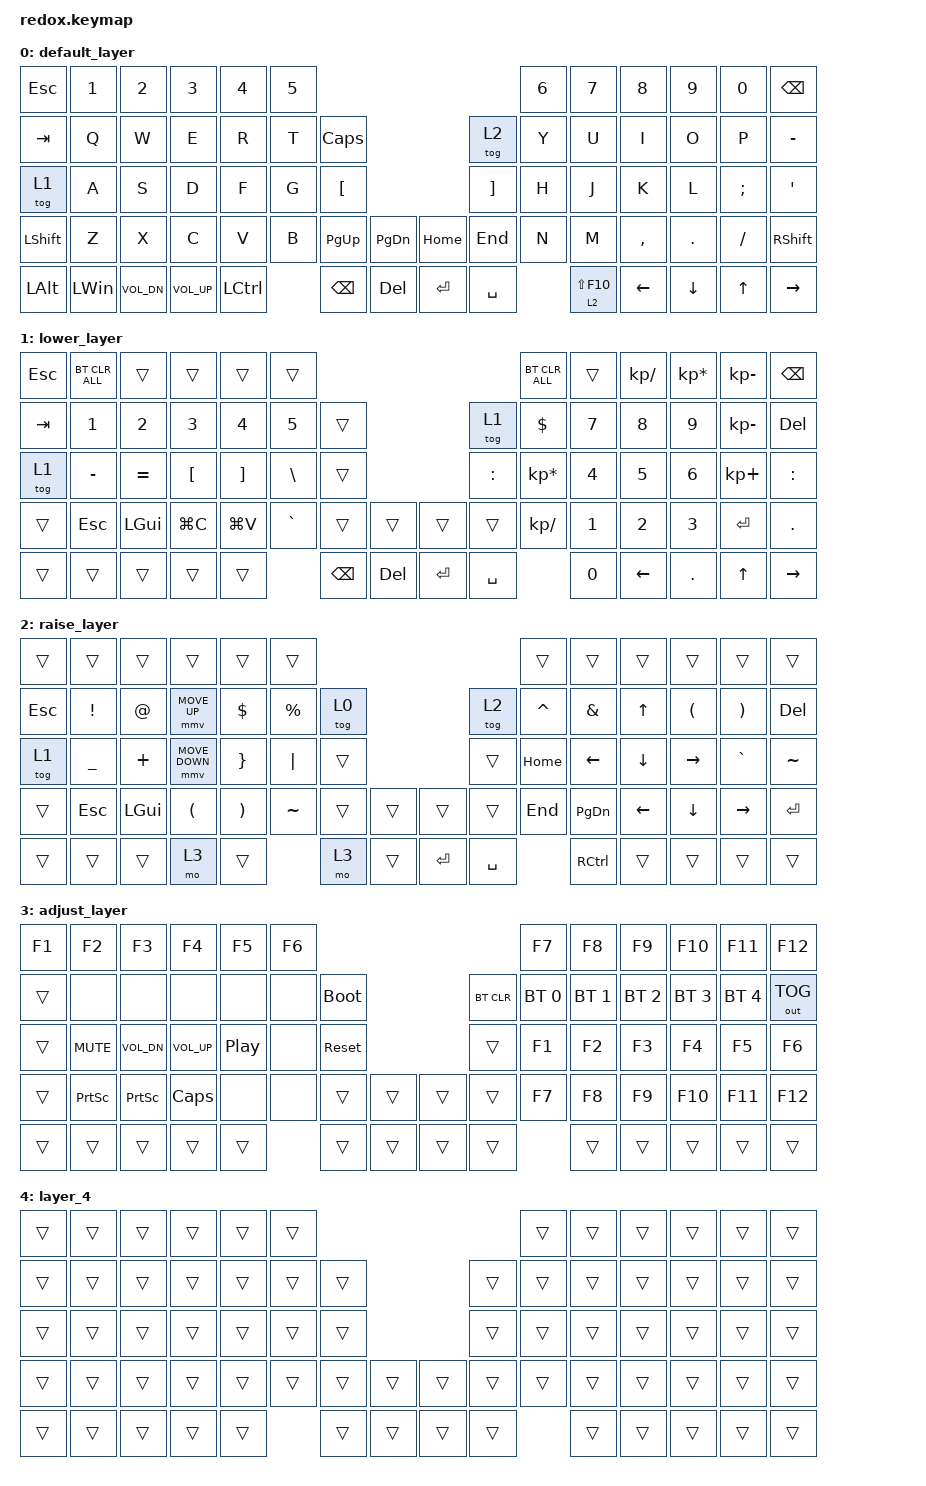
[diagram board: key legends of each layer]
/*
 * Copyright (c) 2021 The ZMK Contributors
 *
 * SPDX-License-Identifier: MIT
 */

#include <behaviors.dtsi>
#include <dt-bindings/zmk/bt.h>
#include <dt-bindings/zmk/keys.h>
#include <dt-bindings/zmk/outputs.h>
#include <dt-bindings/zmk/pointing.h>

/ {
    keymap {
        compatible = "zmk,keymap";

        default_layer {
            // --------------------------------------------------------------------------------------------------------------------------------
            // | ESC   |  1  |  2  |   3   |  4  |  5  |                   ---                |  6    |  7    |  8    |  9   | 0  |    BSPC   |
            // | TAB   |  Q  |  W  |   E   |  R  |  T  |   (   |           ---        |  )    |  Y    |  U    |  I    |  O   | P  |     -     |
            // | CTRL  |  A  |  S  |   D   |  F  |  G  |   [   |           ---        |  ]    |  H    |  J    |  K    |  L   | ;  |     '     |
            // | SHIFT |  Z  |  X  |   C   |  V  |  B  | PG_UP | PG_DOWN | --- | HOME | END   |  N    |  M    |  ,    |  .   | /  | SHFT(RET) |
            // | CRTL  | ALT | GUI | LOWER |    GUI    | LOWER | SPACE   | --- | DEL  | SPACE |     RAISE     | LEFT  | DOWN | UP |   RIGHT   |

            bindings = <
&kp ESC    &kp N1        &kp N2        &kp N3           &kp N4     &kp N5                                                    &kp N6  &kp N7         &kp N8     &kp N9    &kp N0    &kp BSPC
&kp TAB    &kp Q         &kp W         &kp E            &kp R      &kp T   &kp CAPS                               &tog 2     &kp Y   &kp U          &kp I      &kp O     &kp P     &kp MINUS
&tog 1     &kp A         &kp S         &kp D            &kp F      &kp G   &kp LBKT                               &kp RBKT   &kp H   &kp J          &kp K      &kp L     &kp SEMI  &kp SQT
&kp LSHFT  &kp Z         &kp X         &kp C            &kp V      &kp B   &kp PG_UP      &kp PG_DN    &kp HOME   &kp END    &kp N   &kp M          &kp COMMA  &kp DOT   &kp FSLH  &kp RSHFT
&kp LALT   &kp LEFT_WIN  &kp C_VOL_DN  &kp C_VOLUME_UP  &kp LCTRL          &kp BACKSPACE  &kp DEL      &kp ENTER  &kp SPACE          &lt 2 LS(F10)  &kp LEFT   &kp DOWN  &kp UP    &kp RIGHT
            >;
        };

        lower_layer {
            // --------------------------------------------------------------------------------------------------------------------------
            // | ESC   |  1  |  2  |   3   |   4   |  5  |                   ---              |  6  |  7  |   8  |  9   |  0  |  DEL  |
            // | ESC   |  1  |  2  |   3   |   4   |  5  |   (   |           ---        |  )  |  6  |  7  |   8  |  9   |  0  |  DEL  |
            // | CTRL  |  -  |  =  |   [   |   ]   |  \  |   [   |           ---        |  ]  |  *  |  4  |   5  |  6   |  +  |   -   |
            // | SHIFT | ESC | GUI | COPY  | PASTE |     | PG_UP | PG_DOWN | --- | HOME | END |  \  |  1  |   2  |  3   | RET |  RET  |
            // | CRTL  | ALT | GUI | LOWER |     GUI     | LOWER | SPACE   | --- | DEL  |  0  |    RAISE  | LEFT | DOWN | UP  | RIGHT |

            bindings = <
&kp ESCAPE  &bt BT_CLR_ALL  &trans     &trans     &trans     &trans                                                     &bt BT_CLR_ALL   &trans        &kp KP_DIVIDE   &kp KP_MULTIPLY  &kp KP_MINUS  &kp BACKSPACE
&kp TAB     &kp N1          &kp N2     &kp N3     &kp N4     &kp N5     &trans                               &tog 1     &kp DOLLAR       &kp N7        &kp N8          &kp N9           &kp KP_MINUS  &kp DEL
&tog 1      &kp MINUS       &kp EQUAL  &kp LBKT   &kp RBKT   &kp BSLH   &trans                               &kp COLON  &kp KP_MULTIPLY  &kp N4        &kp N5          &kp N6           &kp KP_PLUS   &kp COLON
&trans      &kp ESC         &kp LGUI   &kp LG(C)  &kp LG(V)  &kp GRAVE  &trans         &trans     &trans     &trans     &kp KP_DIVIDE    &kp N1        &kp N2          &kp N3           &kp RET       &kp PERIOD
&trans      &trans          &trans     &trans     &trans                &kp BACKSPACE  &kp DEL    &kp ENTER  &kp SPACE                   &kp NUMBER_0  &kp LEFT_ARROW  &kp PERIOD       &kp UP_ARROW  &kp RIGHT_ARROW
            >;
        };

        raise_layer {
            // ----------------------------------------------------------------------------------------------------------------------------
            // | ESC   |  1  |  2  |   3   |  4  |  5  |                   ---                |  6   |  7   |  8   |  9   |  0    |  DEL  |
            // | ESC   |  !  |  @  |   #   |  $  |  %  |   (   |           ---        |  )    |  ^   |  &   |  *   |  (   |  )    |  DEL  |
            // | CTRL  |  _  |  +  |   {   |  }  | "|" |   [   |           ---        |  ]    | HOME | PGUP | PRSC | UP   |  `    |   ~   |
            // | SHIFT | ESC | GUI |   (   |  )  |     | PG_UP | PG_DOWN | --- | HOME | END   | END  | PGDN | LEFT | DOWN | RIGHT |  RET  |
            // | CRTL  | ALT | GUI | LOWER |    GUI    | LOWER | SPACE   | --- | DEL  | SPACE |    RAISE    | LEFT | DOWN | UP    | RIGHT |

            bindings = <
&trans   &trans     &trans    &trans          &trans    &trans                                             &trans     &trans          &trans        &trans     &trans     &trans
&kp ESC  &kp EXCL   &kp AT    &mmv MOVE_UP    &kp DLLR  &kp PRCNT  &tog 0                       &tog 2     &kp CARET  &kp AMPS        &kp UP_ARROW  &kp LPAR   &kp RPAR   &kp DEL
&tog 1   &kp UNDER  &kp PLUS  &mmv MOVE_DOWN  &kp RBRC  &kp PIPE   &trans                       &trans     &kp HOME   &kp LEFT_ARROW  &kp DOWN      &kp RIGHT  &kp GRAVE  &kp TILDE
&trans   &kp ESC    &kp LGUI  &kp LPAR        &kp RPAR  &kp TILDE  &trans  &trans    &trans     &trans     &kp END    &kp PG_DN       &kp LEFT      &kp DOWN   &kp RIGHT  &kp RET
&trans   &trans     &trans    &mo 3           &trans               &mo 3   &trans    &kp ENTER  &kp SPACE             &kp RCTRL       &trans        &trans     &trans     &trans
            >;
        };

        adjust_layer {
            // -----------------------------------------------------------------------------------------
            // |  F1   |  F2   |    F3    |    F4     |     F5     | F6 |                   ---                | F7  | F8  |  F9  |  F10 | F11 | F12        |
            // | TAB   |       |          |           |            |    | BOOTL |           ---        |  )    | BT1 | BT2 |  BT3 |  BT4 | BT5 | OUTPUT TGL |
            // | CTRL  | MUTE  |  Vol Dn  |  Vol Up   | Play/Pause |    | RESET |           ---        |  ]    | F1  | F2  |  F3  |  F4  | F5  | F6         |
            // | SHIFT | PSCRN |  PSCRN   |   CAPS    |            |    | PG_UP | PG_DOWN | --- | HOME | END   | F7  | F8  |  F9  |  F10 | F11 | F12        |
            // | CRTL  | ALT   |  GUI     |   LOWER   |      GUI        | LOWER | SPACE   | --- | DEL  | SPACE |   RAISE   | LEFT | DOWN | UP  |   RIGHT    |

            bindings = <
&kp F1  &kp F2      &kp F3        &kp F4        &kp F5            &kp F6                                             &kp F7        &kp F8        &kp F9        &kp F10       &kp F11       &kp F12
&trans  &none       &none         &none         &none             &none   &bootloader                    &bt BT_CLR  &bt BT_SEL 0  &bt BT_SEL 1  &bt BT_SEL 2  &bt BT_SEL 3  &bt BT_SEL 4  &out OUT_TOG
&trans  &kp K_MUTE  &kp C_VOL_DN  &kp C_VOL_UP  &kp C_PLAY_PAUSE  &none   &sys_reset                     &trans      &kp F1        &kp F2        &kp F3        &kp F4        &kp F5        &kp F6
&trans  &kp PSCRN   &kp PSCRN     &kp CLCK      &none             &none   &trans       &trans    &trans  &trans      &kp F7        &kp F8        &kp F9        &kp F10       &kp F11       &kp F12
&trans  &trans      &trans        &trans        &trans                    &trans       &trans    &trans  &trans                    &trans        &trans        &trans        &trans        &trans
            >;
        };

        layer_4 {
            bindings = <
&trans  &trans  &trans  &trans  &trans  &trans                                    &trans  &trans  &trans  &trans  &trans  &trans
&trans  &trans  &trans  &trans  &trans  &trans  &trans                    &trans  &trans  &trans  &trans  &trans  &trans  &trans
&trans  &trans  &trans  &trans  &trans  &trans  &trans                    &trans  &trans  &trans  &trans  &trans  &trans  &trans
&trans  &trans  &trans  &trans  &trans  &trans  &trans  &trans    &trans  &trans  &trans  &trans  &trans  &trans  &trans  &trans
&trans  &trans  &trans  &trans  &trans          &trans  &trans    &trans  &trans          &trans  &trans  &trans  &trans  &trans
            >;
        };
    };
};
